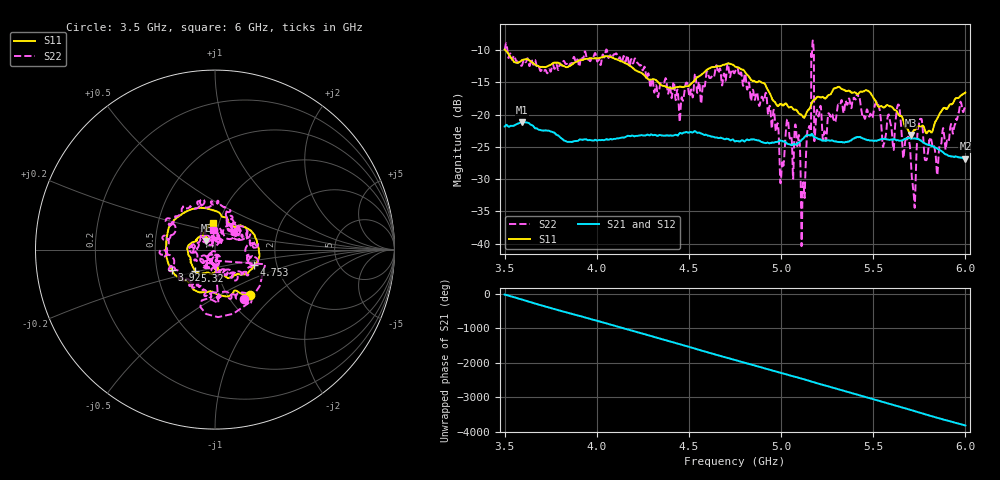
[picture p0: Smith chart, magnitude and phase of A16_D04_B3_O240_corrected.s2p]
! Created with skrf 1.9.0 (http://scikit-rf.org).
# Hz S RI R 50.0
!freq ReS11 ImS11 ReS21 ImS21 ReS12 ImS12 ReS22 ImS22
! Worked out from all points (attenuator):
!   1601 points, 3.5 GHz to 6 GHz, reference 50 ohm
!   highest |S21| = -21.17 dB at 3.592 GHz (marker M1); lowest = -26.8 dB at 6 GHz (marker M2)
!   lowest |S11| = -23.1 dB at 5.703 GHz (marker M3), VSWR 1.15, Z = 45.2 + j4.6 ohm
!   |S11| at or under -10 dB: 3.505 GHz to end of sweep
!   |S22| runs from -40.4 to -8.5 dB; largest |S21 - S12| = 0.0011
!   S11 on the Smith chart (normalised r, x): 3.5 GHz: 1.26, -0.71; 3.92 GHz: 0.60, -0.15; 4.753 GHz: 1.53, -0.28; 5.32 GHz: 0.78, -0.19; 6 GHz: 0.94, +0.28
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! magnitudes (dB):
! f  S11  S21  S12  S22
! 3.5 GHz  -9.9  -21.8  -21.8  -10.0
! 3.592 GHz  -11.6  -21.2  -21.2  -12.4
! 3.917 GHz  -11.5  -23.9  -23.9  -11.0
! 3.92 GHz  -11.5  -23.9  -23.9  -11.1
! 4.334 GHz  -15.0  -23.2  -23.2  -17.1
! 4.75 GHz  -12.5  -24.1  -24.1  -13.4
! 4.753 GHz  -12.6  -24.1  -24.1  -13.1
! 4.912 GHz  -15.3  -24.4  -24.3  -17.1
! 5.003 GHz  -18.4  -24.0  -24.1  -28.5
! 5.033 GHz  -18.5  -24.5  -24.4  -20.8
! 5.088 GHz  -19.4  -24.5  -24.5  -24.9
! 5.119 GHz  -20.3  -23.7  -23.6  -30.7
! 5.167 GHz  -18.1  -23.0  -22.9  -10.7
! 5.236 GHz  -17.4  -24.0  -24.0  -22.6
! 5.32 GHz  -15.8  -24.3  -24.2  -18.5
! 5.584 GHz  -18.6  -23.9  -23.8  -20.0
! 5.638 GHz  -20.0  -24.0  -23.9  -18.4
! 5.703 GHz  -23.1  -23.7  -23.7  -26.7
! 5.719 GHz  -22.5  -23.7  -23.6  -32.1
! 5.753 GHz  -21.8  -23.9  -23.8  -20.9
! 5.845 GHz  -20.7  -25.2  -25.2  -29.0
! 6 GHz  -16.6  -26.8  -26.7  -19.3
